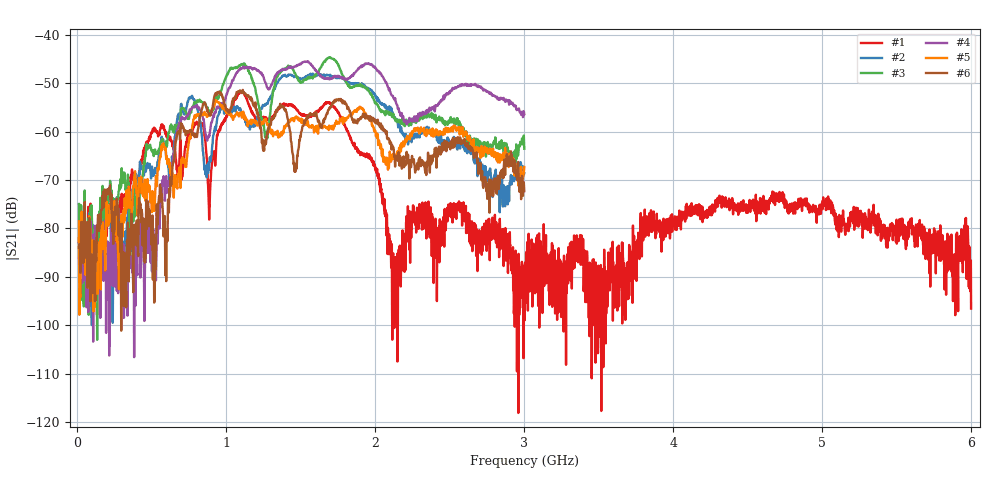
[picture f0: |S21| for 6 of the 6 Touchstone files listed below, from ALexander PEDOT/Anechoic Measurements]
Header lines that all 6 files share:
! Ref Plane: 0.000 mm
# MHZ S MA R  50
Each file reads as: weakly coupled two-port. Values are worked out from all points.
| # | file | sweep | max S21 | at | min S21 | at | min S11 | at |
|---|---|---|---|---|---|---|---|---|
| 1 | Copper_Dipole_Ave8,F_10M_6000MHz_think.s2p | 10 MHz to 6 GHz | -51.64 dB | 1.096 GHz | -118.1 dB | 2.96 GHz | -61.4 dB | 4.931 GHz |
| 2 | copper_Dipole_F_10M_3000MHz_block sqashed 2.s2p | 10 MHz to 3 GHz | -47.98 dB | 1.58 GHz | -100.0 dB | 96.71 MHz | -37.5 dB | 2.734 GHz |
| 3 | Copper_Dipole_F_10M_3000MHz_thin_pushed.s2p | 10 MHz to 3 GHz | -44.61 dB | 1.696 GHz | -103.0 dB | 132.6 MHz | -39.2 dB | 2.728 GHz |
| 4 | copper_Dipole_F_10M_3000MHz_thin_pushed_edge.s2p | 10 MHz to 3 GHz | -45.48 dB | 1.55 GHz | -106.6 dB | 380.8 MHz | -41.9 dB | 2.713 GHz |
| 5 | pedot_Dipole_F_10M_3000MHz_block sqashed 2.s2p | 10 MHz to 3 GHz | -53.44 dB | 927.9 MHz | -97.8 dB | 12.99 MHz | -42.7 dB | 2.725 GHz |
| 6 | pedot_Dipole_F_10M_3000MHz_thick block sqashed 1.s2p | 10 MHz to 3 GHz | -51.35 dB | 1.11 GHz | -101.1 dB | 294.1 MHz | -39.4 dB | 2.728 GHz |
